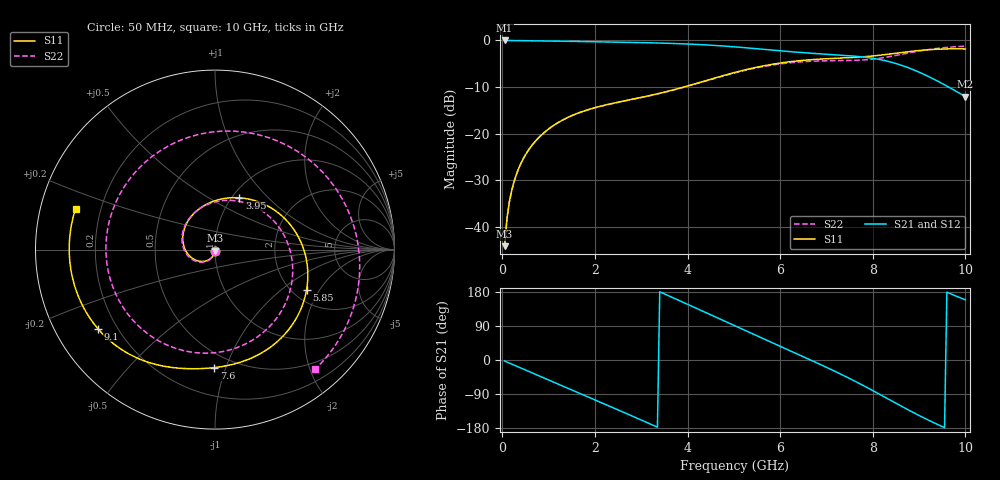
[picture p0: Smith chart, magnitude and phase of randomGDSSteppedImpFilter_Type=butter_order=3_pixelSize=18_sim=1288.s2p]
! freq	dB(S11)	phase(S11)	dB(S12)	phase(S12)
!  dB(S21)	phase(S21)	dB(S22)	phase(S22)
!S-par simulation data
#  GHz  S  DB  R 50
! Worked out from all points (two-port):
!   200 points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, 50 MHz to 10 GHz, reference 50 ohm
!   highest |S21| = -0.01 dB at 50 MHz (marker M1); lowest = -12.1 dB at 10 GHz (marker M2)
!   |S21| within 3 dB of the highest: start of sweep to 7.076 GHz
!   lowest |S11| = -44.2 dB at 50 MHz (marker M3), VSWR 1.01, Z = 50 - j0.618 ohm
!   |S11| at or under -10 dB: start of sweep to 3.922 GHz
!   |S22| runs from -44.2 to -1.2 dB; largest |S21 - S12| = 0
!   S11 on the Smith chart (normalised r, x): 50 MHz: 1.00, -0.01; 3.95 GHz: 1.08, +0.70; 5.85 GHz: 2.38, -1.54; 7.6 GHz: 0.39, -0.91; 9.1 GHz: 0.13, -0.30; 10 GHz: 0.11, +0.14
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0.05  -44.18 -90.7  -0.01 -2.7  -0.01 -2.7  -44.18 -90.7
0.1  -38.30 -94.2  -0.01 -5.3  -0.01 -5.3  -38.30 -93.8
0.2  -32.36 -100.6  -0.02 -10.6  -0.02 -10.6  -32.36 -99.8
0.5  -24.57 -117.8  -0.05 -26.4  -0.05 -26.4  -24.57 -116.0
1.15  -17.97 -153.5  -0.14 -60.6  -0.14 -60.6  -17.99 -149.4
1.75  -15.20 174.3  -0.24 -92.0  -0.24 -92.0  -15.22 179.5
2.65  -12.95 127.7  -0.39 -139.6  -0.39 -139.6  -12.99 130.8
3.4  -11.34 90.9  -0.56 180.0  -0.56 180.0  -11.40 86.8
3.95  -9.92 64.8  -0.75 149.8  -0.75 149.8  -9.98 52.7
4.5  -8.33 38.9  -1.02 119.1  -1.02 119.1  -8.40 17.9
5.05  -6.80 13.0  -1.40 88.4  -1.40 88.4  -6.89 -16.9
5.85  -5.08 -23.6  -2.10 44.2  -2.10 44.2  -5.25 -67.8
6.3  -4.47 -42.9  -2.48 19.6  -2.48 19.6  -4.71 -97.3
6.7  -4.11 -58.8  -2.77 -2.4  -2.77 -2.4  -4.45 -125.2
7.2  -3.84 -77.1  -3.08 -30.9  -3.08 -30.9  -4.34 -164.3
7.6  -3.64 -90.3  -3.36 -55.0  -3.36 -55.0  -4.28 159.3
8  -3.34 -103.1  -3.83 -80.7  -3.83 -80.7  -4.01 118.4
8.35  -2.94 -114.8  -4.54 -104.0  -4.54 -104.0  -3.50 81.0
8.7  -2.49 -128.3  -5.61 -127.3  -5.61 -127.3  -2.83 45.4
9.1  -2.08 -146.0  -7.26 -152.6  -7.26 -152.6  -2.11 9.7
9.5  -1.85 -166.5  -9.26 -175.7  -9.26 -175.7  -1.59 -20.0
10  -1.83 163.7  -12.09 158.7  -12.09 158.7  -1.22 -49.9
